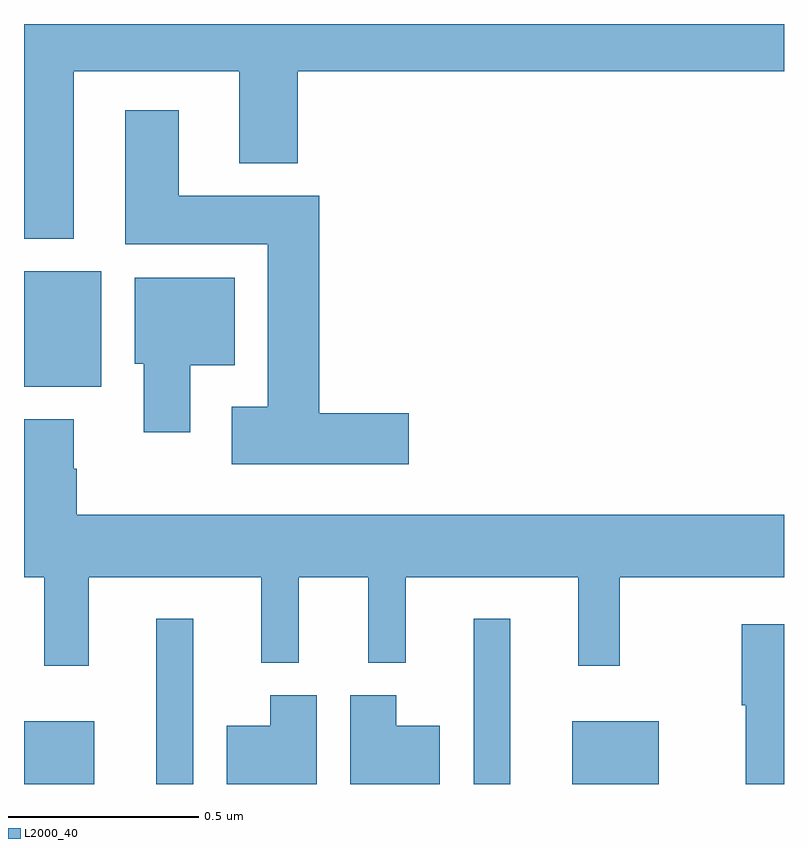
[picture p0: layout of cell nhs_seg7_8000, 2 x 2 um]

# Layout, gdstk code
import gdstk
lib = gdstk.Library(unit=1e-6, precision=1e-09)
def R(c, l, rs):  # rectangles x0, y0, x1, y1
    for r in rs: c.add(gdstk.rectangle(r[:2], r[2:], *l))
def P(c, l, *ps):  # polygons
    for p in ps: c.add(gdstk.Polygon(p, *l))
L2000_40 = (2000, 40)

nhs_seg7_8000 = lib.new_cell('nhs_seg7_8000')
R(nhs_seg7_8000, L2000_40, [(218,1072,218.185,1072.165), (218.348,1072,218.445,1072.435), (219.183,1072,219.28,1072.435), (219.443,1072,219.67,1072.165), (218,1073.045,218.203,1073.35)])
P(nhs_seg7_8000, L2000_40, [(218.131,1073.876),(218.567,1073.876),(218.567,1073.633),(218.72,1073.633),(218.72,1073.876),(220,1073.876),(220,1074),(218,1074),(218,1073.435),(218.131,1073.435)],
  [(219.013,1072.976),(218.777,1072.976),(218.777,1073.548),(218.407,1073.548),(218.407,1073.773),(218.267,1073.773),(218.267,1073.42),(218.642,1073.42),(218.642,1072.993),(218.547,1072.993),(218.547,1072.841),(219.013,1072.841)],
  [(218.437,1073.102),(218.554,1073.102),(218.554,1073.332),(218.291,1073.332),(218.291,1073.106),(218.315,1073.106),(218.315,1072.926),(218.437,1072.926)],
  [(218.171,1072.544),(218.624,1072.544),(218.624,1072.319),(218.723,1072.319),(218.723,1072.544),(218.906,1072.544),(218.906,1072.319),(219.005,1072.319),(219.005,1072.544),(219.458,1072.544),(219.458,1072.311),(219.568,1072.311),(219.568,1072.544),(220,1072.544),(220,1072.708),(218.139,1072.708),(218.139,1072.829),(218.131,1072.829),(218.131,1072.96),(218,1072.96),(218,1072.544),(218.053,1072.544),(218.053,1072.311),(218.171,1072.311)],
  [(220,1072.42),(219.889,1072.42),(219.889,1072.207),(219.899,1072.207),(219.899,1072),(220,1072)],
  [(218.77,1072.234),(218.648,1072.234),(218.648,1072.153),(218.534,1072.153),(218.534,1072),(218.77,1072)],
  [(219.094,1072.153),(218.98,1072.153),(218.98,1072.234),(218.858,1072.234),(218.858,1072),(219.094,1072)])

lib.write_gds('nhs_seg7_8000.gds')
